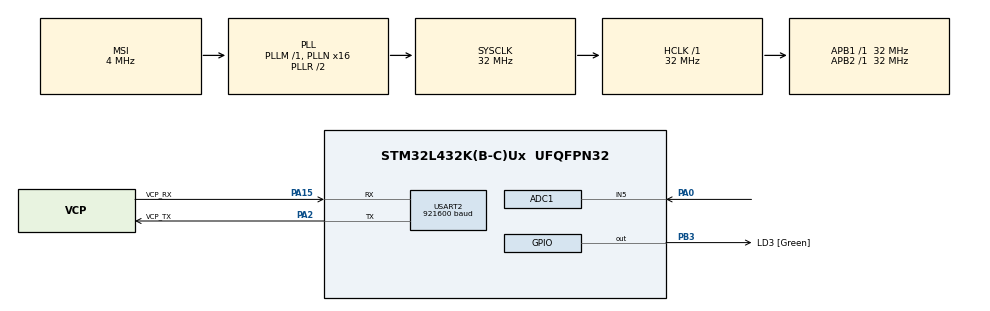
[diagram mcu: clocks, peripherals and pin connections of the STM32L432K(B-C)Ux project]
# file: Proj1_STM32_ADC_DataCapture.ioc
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ADC1.Channel-0\#ChannelRegularConversion=ADC_CHANNEL_5
ADC1.ContinuousConvMode=DISABLE
ADC1.DMAContinuousRequests=ENABLE
ADC1.ExternalTrigConv=ADC_EXTERNALTRIG_T6_TRGO
ADC1.NbrOfConversionFlag=1
ADC1.OffsetNumber-0\#ChannelRegularConversion=ADC_OFFSET_NONE
ADC1.Overrun=ADC_OVR_DATA_OVERWRITTEN
ADC1.Rank-0\#ChannelRegularConversion=1
ADC1.SamplingTime-0\#ChannelRegularConversion=ADC_SAMPLETIME_2CYCLES_5
ADC1.master=1
Dma.ADC1.0.Direction=DMA_PERIPH_TO_MEMORY
Dma.ADC1.0.Instance=DMA1_Channel1
Dma.ADC1.0.MemDataAlignment=DMA_MDATAALIGN_HALFWORD
Dma.ADC1.0.MemInc=DMA_MINC_ENABLE
Dma.ADC1.0.Mode=DMA_CIRCULAR
Dma.ADC1.0.PeriphDataAlignment=DMA_PDATAALIGN_HALFWORD
Dma.ADC1.0.PeriphInc=DMA_PINC_DISABLE
Dma.ADC1.0.Priority=DMA_PRIORITY_VERY_HIGH
Dma.Request0=ADC1
Mcu.Family=STM32L4
Mcu.Name=STM32L432K(B-C)Ux
Mcu.Package=UFQFPN32
NVIC.ADC1_IRQn=true\:0\:0\:false\:false\:true\:true\:true\:true
NVIC.DMA1_Channel1_IRQn=true\:0\:0\:false\:false\:true\:false\:true\:true
NVIC.PriorityGroup=NVIC_PRIORITYGROUP_4
PA0.Signal=ADCx_IN5
PA13\ (JTMS-SWDIO).GPIO_Label=SWDIO
PA13\ (JTMS-SWDIO).Mode=Serial_Wire
PA13\ (JTMS-SWDIO).Signal=SYS_JTMS-SWDIO
PA14\ (JTCK-SWCLK).GPIO_Label=SWCLK
PA14\ (JTCK-SWCLK).Mode=Serial_Wire
PA14\ (JTCK-SWCLK).Signal=SYS_JTCK-SWCLK
PA15\ (JTDI).GPIO_Label=VCP_RX
PA15\ (JTDI).Mode=Asynchronous
PA15\ (JTDI).Signal=USART2_RX
PA2.GPIO_Label=VCP_TX
PA2.Mode=Asynchronous
PA2.Signal=USART2_TX
PB3\ (JTDO-TRACESWO).GPIO_Label=LD3 [Green]
PB3\ (JTDO-TRACESWO).Signal=GPIO_Output
PC14-OSC32_IN\ (PC14).Mode=LSE-External-Oscillator
PC14-OSC32_IN\ (PC14).Signal=RCC_OSC32_IN
PC15-OSC32_OUT\ (PC15).Mode=LSE-External-Oscillator
PC15-OSC32_OUT\ (PC15).Signal=RCC_OSC32_OUT
ProjectManager.HeapSize=0x200
ProjectManager.StackSize=0x400
ProjectManager.TargetToolchain=STM32CubeIDE
RCC.ADCFreq_Value=32000000
RCC.AHBFreq_Value=32000000
RCC.APB1Freq_Value=32000000
RCC.APB1TimFreq_Value=32000000
RCC.APB2Freq_Value=32000000
RCC.APB2TimFreq_Value=32000000
RCC.CortexFreq_Value=32000000
RCC.HCLKFreq_Value=32000000
RCC.HSE_VALUE=8000000
RCC.HSI16_VALUE=16000000
RCC.HSI48_VALUE=48000000
RCC.HSI_VALUE=16000000
RCC.MSI_VALUE=4000000
RCC.PLLMUL=RCC_PLLMUL_4
RCC.PLLN=16
RCC.PLLSAI1N=16
RCC.SYSCLKFreq_VALUE=32000000
RCC.SYSCLKSource=RCC_SYSCLKSOURCE_PLLCLK
RCC.USBFreq_Value=32000000
RCC.VCOOutputFreq_Value=64000000
SH.ADCx_IN5.0=ADC1_IN5,IN5-Single-Ended
TIM6.Period=3999
TIM6.Prescaler=0
TIM6.TIM_MasterOutputTrigger=TIM_TRGO_UPDATE
USART2.BaudRate=921600
USART2.VirtualMode-Asynchronous=VM_ASYNC
VP_TIM6_VS_ClockSourceINT.Mode=Enable_Timer
board=NUCLEO-L432KC

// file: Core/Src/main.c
/* USER CODE BEGIN Header */
/**
  ******************************************************************************
  * @file           : main.c
  * @brief          : Main program body
  ******************************************************************************
  * This version:
  * - Samples ADC1 IN5 using TIM6 trigger at 8 kHz
  * - Uses DMA circular buffer
  * - Detects an event when ADC changes above threshold
  * - Captures 1 second of data around the event
  *   (160 samples pretrigger + 7840 samples total from trigger onward)
  * - Sends the captured samples as ASCII numbers, one per line
  * - Sends START / END markers
  * - Waits 2 seconds before rearming
  ******************************************************************************
  */
/* USER CODE END Header */

#include "main.h"

/* USER CODE BEGIN Includes */
#include <string.h>
#include <stdio.h>
#include <stdlib.h>
/* USER CODE END Includes */

/* USER CODE BEGIN PD */
#define SAMPLE_RATE_HZ        8000U
#define ADC_DMA_BUF_LEN       8192U
#define PRETRIG_SAMPLES        160U
#define POSTTRIG_SAMPLES      7840U
#define CAPTURE_LEN          (PRETRIG_SAMPLES + POSTTRIG_SAMPLES)   // 8000 samples total = 1.0 s
#define THRESHOLD_COUNTS      1200U
/* USER CODE END PD */

ADC_HandleTypeDef hadc1;
DMA_HandleTypeDef hdma_adc1;

TIM_HandleTypeDef htim6;

UART_HandleTypeDef huart2;

/* USER CODE BEGIN PV */
uint16_t adc_dma_buf[ADC_DMA_BUF_LEN];
uint16_t capture_buf[CAPTURE_LEN];

volatile uint8_t capture_ready = 0;
volatile uint8_t event_detected = 0;
volatile uint32_t trigger_dma_index = 0;
volatile uint32_t post_count = 0;
volatile int32_t baseline_q8 = -1;
/* USER CODE END PV */

void SystemClock_Config(void);
static void MX_GPIO_Init(void);
static void MX_DMA_Init(void);
static void MX_USART2_UART_Init(void);
static void MX_ADC1_Init(void);
static void MX_TIM6_Init(void);
/* USER CODE BEGIN PFP */
static void StartCapture(void);
static void ProcessBlock(uint16_t *src, uint32_t start_index, uint32_t len);
static void CopyCaptureWindow(void);
static void DumpCapture(void);
/* USER CODE END PFP */

/* USER CODE BEGIN 0 */

static inline uint16_t absdiff_u16(uint16_t a, uint16_t b)
{
  return (a > b) ? (a - b) : (b - a);
}

static void StartCapture(void)
{
  capture_ready = 0;
  event_detected = 0;
  trigger_dma_index = 0;
  post_count = 0;
  baseline_q8 = -1;

  HAL_GPIO_WritePin(LD3_GPIO_Port, LD3_Pin, GPIO_PIN_RESET);

  HAL_TIM_Base_Stop(&htim6);
  HAL_ADC_Stop_DMA(&hadc1);

  HAL_ADC_Start_DMA(&hadc1, (uint32_t *)adc_dma_buf, ADC_DMA_BUF_LEN);
  HAL_TIM_Base_Start(&htim6);
}

static void ProcessBlock(uint16_t *src, uint32_t start_index, uint32_t len)
{
  for (uint32_t i = 0; i < len; i++)
  {
    uint16_t s = src[i];

    if (baseline_q8 < 0)
    {
      baseline_q8 = ((int32_t)s) << 8;
    }

    uint16_t baseline = (uint16_t)(baseline_q8 >> 8);
    uint16_t diff = absdiff_u16(s, baseline);

    if (!event_detected)
    {
      if (diff > THRESHOLD_COUNTS)
      {
        event_detected = 1;
        trigger_dma_index = (start_index + i) % ADC_DMA_BUF_LEN;
        post_count = 0;
        HAL_GPIO_WritePin(LD3_GPIO_Port, LD3_Pin, GPIO_PIN_SET);
      }
      else
      {
        /* slow moving baseline */
        baseline_q8 += ((((int32_t)s) << 8) - baseline_q8) >> 8;
      }
    }
    else
    {
      /*
       * We want CAPTURE_LEN = PRETRIG_SAMPLES + POSTTRIG_SAMPLES total samples.
       * Since the trigger sample itself is already in the window, we only need
       * POSTTRIG_SAMPLES - 1 additional samples after the trigger.
       */
      post_count++;

      if (post_count >= (POSTTRIG_SAMPLES - 1U))
      {
        HAL_TIM_Base_Stop(&htim6);
        HAL_ADC_Stop_DMA(&hadc1);
        CopyCaptureWindow();
        capture_ready = 1;
        HAL_GPIO_WritePin(LD3_GPIO_Port, LD3_Pin, GPIO_PIN_RESET);
        return;
      }
    }
  }
}

static void CopyCaptureWindow(void)
{
  uint32_t start = (trigger_dma_index + ADC_DMA_BUF_LEN - PRETRIG_SAMPLES) % ADC_DMA_BUF_LEN;

  for (uint32_t i = 0; i < CAPTURE_LEN; i++)
  {
    capture_buf[i] = adc_dma_buf[(start + i) % ADC_DMA_BUF_LEN];
  }
}

static void DumpCapture(void)
{
  char msg[20];
  int n;

  for (uint32_t i = 0; i < CAPTURE_LEN; i++)
  {
    n = snprintf(msg, sizeof(msg), "%u\r\n", capture_buf[i]);
    HAL_UART_Transmit(&huart2, (uint8_t *)msg, n, HAL_MAX_DELAY);
  }
}

void HAL_ADC_ConvHalfCpltCallback(ADC_HandleTypeDef *hadc)
{
  if ((hadc->Instance == ADC1) && !capture_ready)
  {
    ProcessBlock(&adc_dma_buf[0], 0, ADC_DMA_BUF_LEN / 2);
  }
}

void HAL_ADC_ConvCpltCallback(ADC_HandleTypeDef *hadc)
{
  if ((hadc->Instance == ADC1) && !capture_ready)
  {
    ProcessBlock(&adc_dma_buf[ADC_DMA_BUF_LEN / 2],
                 ADC_DMA_BUF_LEN / 2,
                 ADC_DMA_BUF_LEN / 2);
  }
}

void HAL_ADC_ErrorCallback(ADC_HandleTypeDef *hadc)
{
  char msg[] = "ADC ERROR\r\n";
  HAL_TIM_Base_Stop(&htim6);
  HAL_ADC_Stop_DMA(&hadc1);
  HAL_UART_Transmit(&huart2, (uint8_t *)msg, sizeof(msg) - 1, HAL_MAX_DELAY);
}

/* USER CODE END 0 */

int main(void)
{

  /* MCU Configuration--------------------------------------------------------*/

  /* Reset of all peripherals, Initializes the Flash interface and the Systick. */
  HAL_Init();

  /* Configure the system clock */
  SystemClock_Config();

  /* Initialize all configured peripherals */
  MX_GPIO_Init();
  MX_DMA_Init();
  MX_USART2_UART_Init();
  MX_ADC1_Init();
  MX_TIM6_Init();

  /* USER CODE BEGIN 2 */
  StartCapture();
  /* USER CODE END 2 */

  /* Infinite loop */
  /* USER CODE BEGIN WHILE */
  while (1)
  {
    if (capture_ready)
    {
      HAL_UART_Transmit(&huart2, (uint8_t *)"START\r\n", 7, HAL_MAX_DELAY);
      DumpCapture();
      HAL_UART_Transmit(&huart2, (uint8_t *)"END\r\n", 5, HAL_MAX_DELAY);

      HAL_Delay(2000);   // ignore new peaks for 2 seconds
      StartCapture();    // rearm after cooldown
    }

    /* USER CODE END WHILE */

  }
}

void SystemClock_Config(void)
{
  RCC_OscInitTypeDef RCC_OscInitStruct = {0};
  RCC_ClkInitTypeDef RCC_ClkInitStruct = {0};

  /** Configure the main internal regulator output voltage
  */
  if (HAL_PWREx_ControlVoltageScaling(PWR_REGULATOR_VOLTAGE_SCALE1) != HAL_OK)
  {
    Error_Handler();
  }

  /** Configure LSE Drive Capability
  */
  HAL_PWR_EnableBkUpAccess();
  __HAL_RCC_LSEDRIVE_CONFIG(RCC_LSEDRIVE_LOW);

  /** Initializes the RCC Oscillators according to the specified parameters
  * in the RCC_OscInitTypeDef structure.
  */
  RCC_OscInitStruct.OscillatorType = RCC_OSCILLATORTYPE_LSE | RCC_OSCILLATORTYPE_MSI;
  RCC_OscInitStruct.LSEState = RCC_LSE_ON;
  RCC_OscInitStruct.MSIState = RCC_MSI_ON;
  RCC_OscInitStruct.MSICalibrationValue = 0;
  RCC_OscInitStruct.MSIClockRange = RCC_MSIRANGE_6;
  RCC_OscInitStruct.PLL.PLLState = RCC_PLL_ON;
  RCC_OscInitStruct.PLL.PLLSource = RCC_PLLSOURCE_MSI;
  RCC_OscInitStruct.PLL.PLLM = 1;
  RCC_OscInitStruct.PLL.PLLN = 16;
  RCC_OscInitStruct.PLL.PLLP = RCC_PLLP_DIV7;
  RCC_OscInitStruct.PLL.PLLQ = RCC_PLLQ_DIV2;
  RCC_OscInitStruct.PLL.PLLR = RCC_PLLR_DIV2;
  if (HAL_RCC_OscConfig(&RCC_OscInitStruct) != HAL_OK)
  {
    Error_Handler();
  }

  /** Initializes the CPU, AHB and APB buses clocks
  */
  RCC_ClkInitStruct.ClockType = RCC_CLOCKTYPE_HCLK | RCC_CLOCKTYPE_SYSCLK
                              | RCC_CLOCKTYPE_PCLK1 | RCC_CLOCKTYPE_PCLK2;
  RCC_ClkInitStruct.SYSCLKSource = RCC_SYSCLKSOURCE_PLLCLK;
  RCC_ClkInitStruct.AHBCLKDivider = RCC_SYSCLK_DIV1;
  RCC_ClkInitStruct.APB1CLKDivider = RCC_HCLK_DIV1;
  RCC_ClkInitStruct.APB2CLKDivider = RCC_HCLK_DIV1;

  if (HAL_RCC_ClockConfig(&RCC_ClkInitStruct, FLASH_LATENCY_1) != HAL_OK)
  {
    Error_Handler();
  }

  /** Enable MSI Auto calibration
  */
  HAL_RCCEx_EnableMSIPLLMode();
}

static void MX_ADC1_Init(void)
{
  ADC_ChannelConfTypeDef sConfig = {0};

  /** Common config
  */
  hadc1.Instance = ADC1;
  hadc1.Init.ClockPrescaler = ADC_CLOCK_ASYNC_DIV1;
  hadc1.Init.Resolution = ADC_RESOLUTION_12B;
  hadc1.Init.DataAlign = ADC_DATAALIGN_RIGHT;
  hadc1.Init.ScanConvMode = ADC_SCAN_DISABLE;
  hadc1.Init.EOCSelection = ADC_EOC_SINGLE_CONV;
  hadc1.Init.LowPowerAutoWait = DISABLE;
  hadc1.Init.ContinuousConvMode = DISABLE;
  hadc1.Init.NbrOfConversion = 1;
  hadc1.Init.DiscontinuousConvMode = DISABLE;
  hadc1.Init.ExternalTrigConv = ADC_EXTERNALTRIG_T6_TRGO;
  hadc1.Init.ExternalTrigConvEdge = ADC_EXTERNALTRIGCONVEDGE_RISING;
  hadc1.Init.DMAContinuousRequests = ENABLE;
  hadc1.Init.Overrun = ADC_OVR_DATA_OVERWRITTEN;
  hadc1.Init.OversamplingMode = DISABLE;
  if (HAL_ADC_Init(&hadc1) != HAL_OK)
  {
    Error_Handler();
  }

  /** Configure Regular Channel
  */
  sConfig.Channel = ADC_CHANNEL_5;
  sConfig.Rank = ADC_REGULAR_RANK_1;
  sConfig.SamplingTime = ADC_SAMPLETIME_2CYCLES_5;
  sConfig.SingleDiff = ADC_SINGLE_ENDED;
  sConfig.OffsetNumber = ADC_OFFSET_NONE;
  sConfig.Offset = 0;
  if (HAL_ADC_ConfigChannel(&hadc1, &sConfig) != HAL_OK)
  {
    Error_Handler();
  }
}

static void MX_TIM6_Init(void)
{
  TIM_MasterConfigTypeDef sMasterConfig = {0};

  htim6.Instance = TIM6;
  htim6.Init.Prescaler = 0;
  htim6.Init.CounterMode = TIM_COUNTERMODE_UP;
  htim6.Init.Period = 3999;   // 32 MHz / (3999 + 1) = 8 kHz
  htim6.Init.AutoReloadPreload = TIM_AUTORELOAD_PRELOAD_DISABLE;
  if (HAL_TIM_Base_Init(&htim6) != HAL_OK)
  {
    Error_Handler();
  }

  sMasterConfig.MasterOutputTrigger = TIM_TRGO_UPDATE;
  sMasterConfig.MasterSlaveMode = TIM_MASTERSLAVEMODE_DISABLE;
  if (HAL_TIMEx_MasterConfigSynchronization(&htim6, &sMasterConfig) != HAL_OK)
  {
    Error_Handler();
  }
}

static void MX_USART2_UART_Init(void)
{
  huart2.Instance = USART2;
  huart2.Init.BaudRate = 921600;
  huart2.Init.WordLength = UART_WORDLENGTH_8B;
  huart2.Init.StopBits = UART_STOPBITS_1;
  huart2.Init.Parity = UART_PARITY_NONE;
  huart2.Init.Mode = UART_MODE_TX_RX;
  huart2.Init.HwFlowCtl = UART_HWCONTROL_NONE;
  huart2.Init.OverSampling = UART_OVERSAMPLING_16;
  huart2.Init.OneBitSampling = UART_ONE_BIT_SAMPLE_DISABLE;
  huart2.AdvancedInit.AdvFeatureInit = UART_ADVFEATURE_NO_INIT;
  if (HAL_UART_Init(&huart2) != HAL_OK)
  {
    Error_Handler();
  }
}

static void MX_DMA_Init(void)
{
  __HAL_RCC_DMA1_CLK_ENABLE();

  /* DMA interrupt init */
  HAL_NVIC_SetPriority(DMA1_Channel1_IRQn, 0, 0);
  HAL_NVIC_EnableIRQ(DMA1_Channel1_IRQn);
}

static void MX_GPIO_Init(void)
{
  GPIO_InitTypeDef GPIO_InitStruct = {0};

  /* GPIO Ports Clock Enable */
  __HAL_RCC_GPIOC_CLK_ENABLE();
  __HAL_RCC_GPIOA_CLK_ENABLE();
  __HAL_RCC_GPIOB_CLK_ENABLE();

  /* Configure LED pin */
  HAL_GPIO_WritePin(LD3_GPIO_Port, LD3_Pin, GPIO_PIN_RESET);

  GPIO_InitStruct.Pin = LD3_Pin;
  GPIO_InitStruct.Mode = GPIO_MODE_OUTPUT_PP;
  GPIO_InitStruct.Pull = GPIO_NOPULL;
  GPIO_InitStruct.Speed = GPIO_SPEED_FREQ_LOW;
  HAL_GPIO_Init(LD3_GPIO_Port, &GPIO_InitStruct);
}

void Error_Handler(void)
{
  __disable_irq();
  while (1)
  {
  }
}
